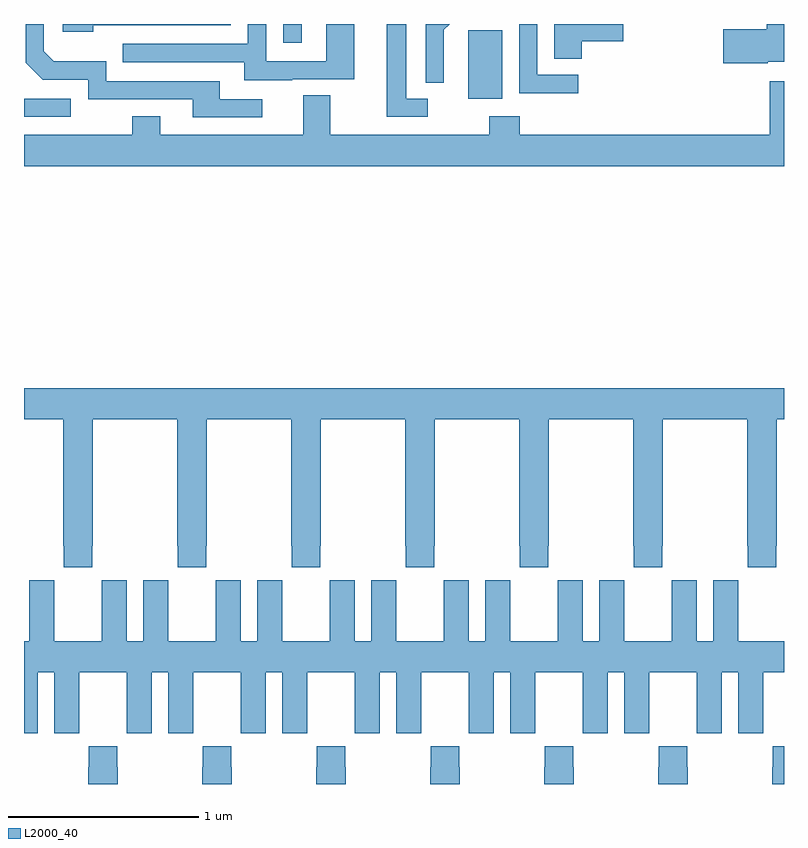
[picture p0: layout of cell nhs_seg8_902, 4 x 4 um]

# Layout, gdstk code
import gdstk
lib = gdstk.Library(unit=1e-6, precision=1e-09)
def R(c, l, rs):  # rectangles x0, y0, x1, y1
    for r in rs: c.add(gdstk.rectangle(r[:2], r[2:], *l))
def P(c, l, *ps):  # polygons
    for p in ps: c.add(gdstk.Polygon(p, *l))
L2000_40 = (2000, 40)

nhs_seg8_902 = lib.new_cell('nhs_seg8_902')
R(nhs_seg8_902, L2000_40, [(169,1131.411,169.246,1131.507), (171.338,1131.506,171.517,1131.867), (170.364,1131.801,170.461,1131.9)])
P(nhs_seg8_902, L2000_40, [(172.914,1131.701),(173,1131.701),(173,1131.9),(172.91,1131.9),(172.91,1131.872),(172.68,1131.872),(172.68,1131.694),(172.914,1131.694)],
  [(171.916,1131.633),(171.702,1131.633),(171.702,1131.9),(171.606,1131.9),(171.606,1131.535),(171.916,1131.535)],
  [(171.21,1131.746),(171.209,1131.746),(171.209,1131.869),(171.24,1131.9),(171.114,1131.9),(171.114,1131.592),(171.21,1131.592)],
  [(169.364,1131.894),(170.088,1131.894),(170.088,1131.9),(169.203,1131.9),(169.203,1131.86),(169.364,1131.86)],
  [(171.935,1131.809),(172.153,1131.809),(172.153,1131.9),(171.791,1131.9),(171.791,1131.718),(171.935,1131.718)],
  [(171.124,1131.507),(171.013,1131.507),(171.013,1131.9),(170.909,1131.9),(170.909,1131.411),(171.124,1131.411)],
  [(170.413,1131.609),(170.737,1131.609),(170.737,1131.9),(170.592,1131.9),(170.592,1131.705),(170.274,1131.705),(170.274,1131.9),(170.178,1131.9),(170.178,1131.795),(169.519,1131.795),(169.519,1131.699),(170.159,1131.699),(170.159,1131.605),(170.413,1131.605)],
  [(170.254,1131.504),(170.029,1131.504),(170.029,1131.6),(169.434,1131.6),(169.434,1131.703),(169.157,1131.703),(169.104,1131.756),(169.104,1131.9),(169.008,1131.9),(169.008,1131.696),(169.098,1131.606),(169.338,1131.606),(169.338,1131.504),(169.889,1131.504),(169.889,1131.408),(170.254,1131.408)],
  [(173,1131.598),(172.926,1131.598),(172.926,1131.316),(171.608,1131.316),(171.608,1131.415),(171.448,1131.415),(171.448,1131.316),(170.611,1131.316),(170.611,1131.524),(170.471,1131.524),(170.471,1131.316),(169.717,1131.316),(169.717,1131.415),(169.57,1131.415),(169.57,1131.316),(169,1131.316),(169,1131.152),(173,1131.152)],
  [(169.359,1129.153),(169.362,1129.153),(169.362,1129.82),(169.807,1129.82),(169.807,1129.153),(169.809,1129.153),(169.809,1129.041),(169.959,1129.041),(169.959,1129.153),(169.962,1129.153),(169.962,1129.82),(170.407,1129.82),(170.407,1129.153),(170.409,1129.153),(170.409,1129.041),(170.559,1129.041),(170.559,1129.153),(170.562,1129.153),(170.562,1129.82),(171.007,1129.82),(171.007,1129.153),(171.009,1129.153),(171.009,1129.041),(171.159,1129.041),(171.159,1129.153),(171.162,1129.153),(171.162,1129.82),(171.607,1129.82),(171.607,1129.153),(171.609,1129.153),(171.609,1129.041),(171.759,1129.041),(171.759,1129.153),(171.762,1129.153),(171.762,1129.82),(172.207,1129.82),(172.207,1129.153),(172.209,1129.153),(172.209,1129.041),(172.359,1129.041),(172.359,1129.153),(172.362,1129.153),(172.362,1129.82),(172.807,1129.82),(172.807,1129.153),(172.809,1129.153),(172.809,1129.041),(172.959,1129.041),(172.959,1129.153),(172.962,1129.153),(172.962,1129.82),(173,1129.82),(173,1129.984),(169,1129.984),(169,1129.82),(169.207,1129.82),(169.207,1129.153),(169.209,1129.153),(169.209,1129.041),(169.359,1129.041)],
  [(169.072,1128.488),(169.16,1128.488),(169.16,1128.168),(169.29,1128.168),(169.29,1128.28),(169.291,1128.28),(169.291,1128.488),(169.541,1128.488),(169.541,1128.28),(169.542,1128.28),(169.542,1128.168),(169.672,1128.168),(169.672,1128.488),(169.76,1128.488),(169.76,1128.168),(169.89,1128.168),(169.89,1128.28),(169.891,1128.28),(169.891,1128.488),(170.141,1128.488),(170.141,1128.28),(170.142,1128.28),(170.142,1128.168),(170.272,1128.168),(170.272,1128.488),(170.36,1128.488),(170.36,1128.168),(170.49,1128.168),(170.49,1128.28),(170.491,1128.28),(170.491,1128.488),(170.741,1128.488),(170.741,1128.28),(170.742,1128.28),(170.742,1128.168),(170.872,1128.168),(170.872,1128.488),(170.96,1128.488),(170.96,1128.168),(171.09,1128.168),(171.09,1128.28),(171.091,1128.28),(171.091,1128.488),(171.341,1128.488),(171.341,1128.28),(171.342,1128.28),(171.342,1128.168),(171.472,1128.168),(171.472,1128.488),(171.56,1128.488),(171.56,1128.168),(171.69,1128.168),(171.69,1128.28),(171.691,1128.28),(171.691,1128.488),(171.941,1128.488),(171.941,1128.28),(171.942,1128.28),(171.942,1128.168),(172.072,1128.168),(172.072,1128.488),(172.16,1128.488),(172.16,1128.168),(172.29,1128.168),(172.29,1128.28),(172.291,1128.28),(172.291,1128.488),(172.541,1128.488),(172.541,1128.28),(172.542,1128.28),(172.542,1128.168),(172.672,1128.168),(172.672,1128.488),(172.76,1128.488),(172.76,1128.168),(172.89,1128.168),(172.89,1128.28),(172.891,1128.28),(172.891,1128.488),(173,1128.488),(173,1128.652),(172.759,1128.652),(172.759,1128.86),(172.758,1128.86),(172.758,1128.973),(172.628,1128.973),(172.628,1128.652),(172.54,1128.652),(172.54,1128.973),(172.41,1128.973),(172.41,1128.86),(172.409,1128.86),(172.409,1128.652),(172.159,1128.652),(172.159,1128.86),(172.158,1128.86),(172.158,1128.973),(172.028,1128.973),(172.028,1128.652),(171.94,1128.652),(171.94,1128.973),(171.81,1128.973),(171.81,1128.86),(171.809,1128.86),(171.809,1128.652),(171.559,1128.652),(171.559,1128.86),(171.558,1128.86),(171.558,1128.973),(171.428,1128.973),(171.428,1128.652),(171.34,1128.652),(171.34,1128.973),(171.21,1128.973),(171.21,1128.86),(171.209,1128.86),(171.209,1128.652),(170.959,1128.652),(170.959,1128.86),(170.958,1128.86),(170.958,1128.973),(170.828,1128.973),(170.828,1128.652),(170.74,1128.652),(170.74,1128.973),(170.61,1128.973),(170.61,1128.86),(170.609,1128.86),(170.609,1128.652),(170.359,1128.652),(170.359,1128.86),(170.358,1128.86),(170.358,1128.973),(170.228,1128.973),(170.228,1128.652),(170.14,1128.652),(170.14,1128.973),(170.01,1128.973),(170.01,1128.86),(170.009,1128.86),(170.009,1128.652),(169.759,1128.652),(169.759,1128.86),(169.758,1128.86),(169.758,1128.973),(169.628,1128.973),(169.628,1128.652),(169.54,1128.652),(169.54,1128.973),(169.41,1128.973),(169.41,1128.86),(169.409,1128.86),(169.409,1128.652),(169.159,1128.652),(169.159,1128.86),(169.158,1128.86),(169.158,1128.973),(169.028,1128.973),(169.028,1128.652),(169,1128.652),(169,1128.168),(169.072,1128.168)],
  [(172.494,1127.987),(172.491,1127.987),(172.491,1128.1),(172.341,1128.1),(172.341,1127.987),(172.339,1127.987),(172.339,1127.9),(172.494,1127.9)],
  [(171.894,1127.987),(171.891,1127.987),(171.891,1128.1),(171.741,1128.1),(171.741,1127.987),(171.739,1127.987),(171.739,1127.9),(171.894,1127.9)],
  [(171.294,1127.987),(171.291,1127.987),(171.291,1128.1),(171.141,1128.1),(171.141,1127.987),(171.139,1127.987),(171.139,1127.9),(171.294,1127.9)],
  [(170.694,1127.987),(170.691,1127.987),(170.691,1128.1),(170.541,1128.1),(170.541,1127.987),(170.539,1127.987),(170.539,1127.9),(170.694,1127.9)],
  [(170.094,1127.987),(170.091,1127.987),(170.091,1128.1),(169.941,1128.1),(169.941,1127.987),(169.939,1127.987),(169.939,1127.9),(170.094,1127.9)],
  [(169.494,1127.987),(169.491,1127.987),(169.491,1128.1),(169.341,1128.1),(169.341,1127.987),(169.339,1127.987),(169.339,1127.9),(169.494,1127.9)],
  [(173,1128.1),(172.941,1128.1),(172.941,1127.987),(172.939,1127.987),(172.939,1127.9),(173,1127.9)])

lib.write_gds('nhs_seg8_902.gds')
